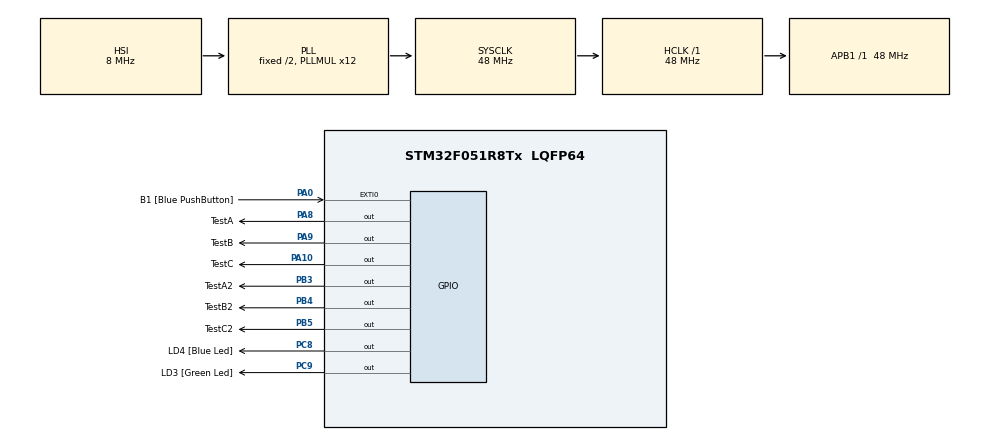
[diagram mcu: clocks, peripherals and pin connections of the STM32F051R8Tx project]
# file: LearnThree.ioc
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Mcu.Family=STM32F0
Mcu.Name=STM32F051R8Tx
Mcu.Package=LQFP64
PA0.GPIO_Label=B1 [Blue PushButton]
PA0.GPIO_ModeDefaultEXTI=GPIO_MODE_EVT_RISING
PA0.Signal=GPXTI0
PA10.GPIO_Label=TestC
PA10.Signal=GPIO_Output
PA13.GPIO_Label=SWDIO
PA13.Mode=Serial_Wire
PA13.Signal=SYS_SWDIO
PA14.GPIO_Label=SWCLK
PA14.Mode=Serial_Wire
PA14.Signal=SYS_SWCLK
PA8.GPIO_Label=TestA
PA8.Signal=GPIO_Output
PA9.GPIO_Label=TestB
PA9.Signal=GPIO_Output
PB3.GPIO_Label=TestA2
PB3.Signal=GPIO_Output
PB4.GPIO_Label=TestB2
PB4.Signal=GPIO_Output
PB5.GPIO_Label=TestC2
PB5.Signal=GPIO_Output
PC8.GPIO_Label=LD4 [Blue Led]
PC8.Signal=GPIO_Output
PC9.GPIO_Label=LD3 [Green Led]
PC9.Signal=GPIO_Output
ProjectManager.HeapSize=0x200
ProjectManager.StackSize=0x400
ProjectManager.TargetToolchain=STM32CubeIDE
RCC.AHBFreq_Value=48000000
RCC.APB1Freq_Value=48000000
RCC.APB1TimFreq_Value=48000000
RCC.HCLKFreq_Value=48000000
RCC.PLLMUL=RCC_PLL_MUL12
RCC.SYSCLKFreq_VALUE=48000000
RCC.SYSCLKSource=RCC_SYSCLKSOURCE_PLLCLK
board=STM32F0DISCOVERY

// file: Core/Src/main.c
/* USER CODE BEGIN Header */
/**
  ******************************************************************************
  * @file           : main.c
  * @brief          : Main program body
  ******************************************************************************
  * @attention
  *
  * Copyright (c) 2022 STMicroelectronics.
  * All rights reserved.
  *
  * This software is licensed under terms that can be found in the LICENSE file
  * in the root directory of this software component.
  * If no LICENSE file comes with this software, it is provided AS-IS.
  *
  ******************************************************************************
  */
/* USER CODE END Header */
#include "main.h"

void SystemClock_Config(void);
static void MX_GPIO_Init(void);

int main(void)
{

  /* MCU Configuration--------------------------------------------------------*/

  /* Reset of all peripherals, Initializes the Flash interface and the Systick. */
  HAL_Init();

  /* Configure the system clock */
  SystemClock_Config();

  /* Initialize all configured peripherals */
  MX_GPIO_Init();

  /* Infinite loop */
  /* USER CODE BEGIN WHILE */
  while (1)
  {
	  HAL_GPIO_WritePin(GPIOB, TestB2_Pin, GPIO_PIN_SET);
	  HAL_GPIO_WritePin(GPIOA, TestA_Pin, GPIO_PIN_SET);
	  HAL_Delay(300);
	  HAL_GPIO_WritePin(GPIOA, TestA_Pin, GPIO_PIN_RESET);
	  HAL_GPIO_WritePin(GPIOA, TestC_Pin, GPIO_PIN_RESET);
	  HAL_GPIO_WritePin(GPIOB, TestA2_Pin, GPIO_PIN_RESET);
	  HAL_GPIO_WritePin(GPIOB, TestB2_Pin, GPIO_PIN_RESET);

	  HAL_GPIO_WritePin(GPIOB, TestC2_Pin, GPIO_PIN_SET);
	  HAL_GPIO_WritePin(GPIOA, TestB_Pin, GPIO_PIN_SET);
	  HAL_Delay(300);
	  HAL_GPIO_WritePin(GPIOA, TestA_Pin, GPIO_PIN_RESET);
	  HAL_GPIO_WritePin(GPIOA, TestB_Pin, GPIO_PIN_RESET);
	  HAL_GPIO_WritePin(GPIOB, TestB2_Pin, GPIO_PIN_RESET);
	  HAL_GPIO_WritePin(GPIOB, TestC2_Pin, GPIO_PIN_RESET);

	  HAL_GPIO_WritePin(GPIOB, TestA2_Pin, GPIO_PIN_SET);
	  HAL_GPIO_WritePin(GPIOA, TestC_Pin, GPIO_PIN_SET);
	  HAL_Delay(300);
	  HAL_GPIO_WritePin(GPIOA, TestB_Pin, GPIO_PIN_RESET);
	  HAL_GPIO_WritePin(GPIOA, TestC_Pin, GPIO_PIN_RESET);
	  HAL_GPIO_WritePin(GPIOB, TestA2_Pin, GPIO_PIN_RESET);
	  HAL_GPIO_WritePin(GPIOB, TestC2_Pin, GPIO_PIN_RESET);

	  /*
	  HAL_GPIO_WritePin(GPIOB, TestA2_Pin, GPIO_PIN_RESET);
	  HAL_GPIO_WritePin(GPIOA, TestA_Pin, GPIO_PIN_RESET);
	  HAL_Delay(1000);
	  */
    /* USER CODE END WHILE */

  }
}

void SystemClock_Config(void)
{
  RCC_OscInitTypeDef RCC_OscInitStruct = {0};
  RCC_ClkInitTypeDef RCC_ClkInitStruct = {0};

  /** Initializes the RCC Oscillators according to the specified parameters
  * in the RCC_OscInitTypeDef structure.
  */
  RCC_OscInitStruct.OscillatorType = RCC_OSCILLATORTYPE_HSI;
  RCC_OscInitStruct.HSIState = RCC_HSI_ON;
  RCC_OscInitStruct.HSICalibrationValue = RCC_HSICALIBRATION_DEFAULT;
  RCC_OscInitStruct.PLL.PLLState = RCC_PLL_ON;
  RCC_OscInitStruct.PLL.PLLSource = RCC_PLLSOURCE_HSI;
  RCC_OscInitStruct.PLL.PLLMUL = RCC_PLL_MUL12;
  RCC_OscInitStruct.PLL.PREDIV = RCC_PREDIV_DIV1;
  if (HAL_RCC_OscConfig(&RCC_OscInitStruct) != HAL_OK)
  {
    Error_Handler();
  }

  /** Initializes the CPU, AHB and APB buses clocks
  */
  RCC_ClkInitStruct.ClockType = RCC_CLOCKTYPE_HCLK|RCC_CLOCKTYPE_SYSCLK
                              |RCC_CLOCKTYPE_PCLK1;
  RCC_ClkInitStruct.SYSCLKSource = RCC_SYSCLKSOURCE_PLLCLK;
  RCC_ClkInitStruct.AHBCLKDivider = RCC_SYSCLK_DIV1;
  RCC_ClkInitStruct.APB1CLKDivider = RCC_HCLK_DIV1;

  if (HAL_RCC_ClockConfig(&RCC_ClkInitStruct, FLASH_LATENCY_1) != HAL_OK)
  {
    Error_Handler();
  }
}

static void MX_GPIO_Init(void)
{
  GPIO_InitTypeDef GPIO_InitStruct = {0};

  /* GPIO Ports Clock Enable */
  __HAL_RCC_GPIOA_CLK_ENABLE();
  __HAL_RCC_GPIOC_CLK_ENABLE();
  __HAL_RCC_GPIOB_CLK_ENABLE();

  /*Configure GPIO pin Output Level */
  HAL_GPIO_WritePin(GPIOC, LD4_Pin|LD3_Pin, GPIO_PIN_RESET);

  /*Configure GPIO pin Output Level */
  HAL_GPIO_WritePin(GPIOA, TestA_Pin|TestB_Pin|TestC_Pin, GPIO_PIN_RESET);

  /*Configure GPIO pin Output Level */
  HAL_GPIO_WritePin(GPIOB, TestA2_Pin|TestB2_Pin|TestC2_Pin, GPIO_PIN_RESET);

  /*Configure GPIO pin : B1_Pin */
  GPIO_InitStruct.Pin = B1_Pin;
  GPIO_InitStruct.Mode = GPIO_MODE_EVT_RISING;
  GPIO_InitStruct.Pull = GPIO_NOPULL;
  HAL_GPIO_Init(B1_GPIO_Port, &GPIO_InitStruct);

  /*Configure GPIO pins : LD4_Pin LD3_Pin */
  GPIO_InitStruct.Pin = LD4_Pin|LD3_Pin;
  GPIO_InitStruct.Mode = GPIO_MODE_OUTPUT_PP;
  GPIO_InitStruct.Pull = GPIO_NOPULL;
  GPIO_InitStruct.Speed = GPIO_SPEED_FREQ_LOW;
  HAL_GPIO_Init(GPIOC, &GPIO_InitStruct);

  /*Configure GPIO pins : TestA_Pin TestB_Pin TestC_Pin */
  GPIO_InitStruct.Pin = TestA_Pin|TestB_Pin|TestC_Pin;
  GPIO_InitStruct.Mode = GPIO_MODE_OUTPUT_PP;
  GPIO_InitStruct.Pull = GPIO_NOPULL;
  GPIO_InitStruct.Speed = GPIO_SPEED_FREQ_LOW;
  HAL_GPIO_Init(GPIOA, &GPIO_InitStruct);

  /*Configure GPIO pins : TestA2_Pin TestB2_Pin TestC2_Pin */
  GPIO_InitStruct.Pin = TestA2_Pin|TestB2_Pin|TestC2_Pin;
  GPIO_InitStruct.Mode = GPIO_MODE_OUTPUT_PP;
  GPIO_InitStruct.Pull = GPIO_NOPULL;
  GPIO_InitStruct.Speed = GPIO_SPEED_FREQ_LOW;
  HAL_GPIO_Init(GPIOB, &GPIO_InitStruct);

}

void Error_Handler(void)
{
  __disable_irq();
  while (1)
  {
  }
}
